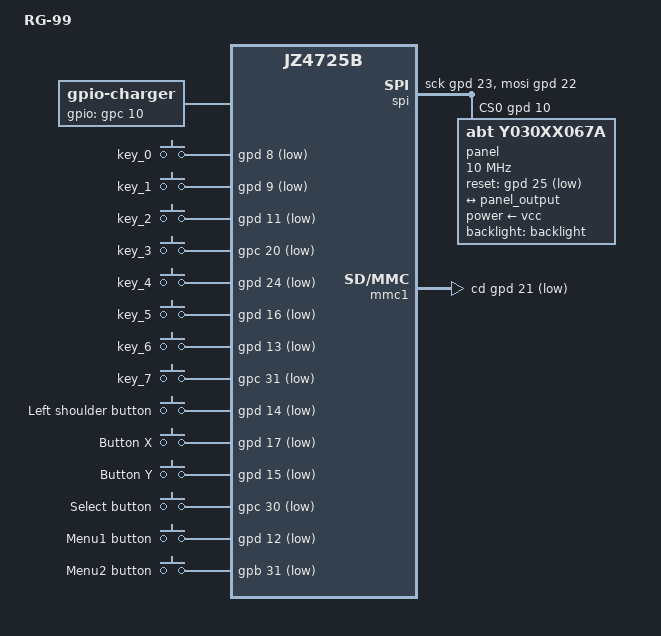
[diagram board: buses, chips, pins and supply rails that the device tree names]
// SPDX-License-Identifier: GPL-2.0
/dts-v1/;

#include "rs90.dts"

/ {
	compatible = "ylm,rg99", "ingenic,jz4725b";
	model = "RG-99";

	charger: charger {
	     compatible = "gpio-charger";
	     charger-type = "usb-sdp";
	     gpios = <&gpc 10 GPIO_ACTIVE_HIGH>;
	};

	spi {
		compatible = "spi-gpio";
		#address-cells = <1>;
		#size-cells = <0>;

		sck-gpios = <&gpd 23 GPIO_ACTIVE_HIGH>;
		mosi-gpios = <&gpd 22 GPIO_ACTIVE_HIGH>;
		cs-gpios = <&gpd 10 GPIO_ACTIVE_HIGH>;
		num-chipselects = <1>;

		panel@0 {
			compatible = "abt,y030xx067a";
			reg = <0>;

			spi-max-frequency = <10000000>;
			spi-3wire;

			reset-gpios = <&gpd 25 GPIO_ACTIVE_LOW>;

			backlight = <&backlight>;
			power-supply = <&vcc>;

			port {
				abt_input: endpoint {
					remote-endpoint = <&panel_output>;
				};
			};
		};
	};
};

&key_0 {
	gpios = <&gpd 8 GPIO_ACTIVE_LOW>;
};

&key_1 {
	gpios = <&gpd 9 GPIO_ACTIVE_LOW>;
};

&key_2 {
	gpios = <&gpd 11 GPIO_ACTIVE_LOW>;
};

&key_3 {
	gpios = <&gpc 20 GPIO_ACTIVE_LOW>;
};

&key_4 {
	gpios = <&gpd 24 GPIO_ACTIVE_LOW>;
};

&key_5 {
	gpios = <&gpd 16 GPIO_ACTIVE_LOW>;
};

&key_6 {
	gpios = <&gpd 13 GPIO_ACTIVE_LOW>;
};

&key_7 {
	gpios = <&gpc 31 GPIO_ACTIVE_LOW>;
};

&gpio_keys {
	key@8 {
		label = "Left shoulder button";
		linux,code = <KEY_TAB>;
		gpios = <&gpd 14 GPIO_ACTIVE_LOW>;
		debounce-interval = <10>;
	};

	key@9 {
		label = "Button X";
		linux,code = <KEY_SPACE>;
		gpios = <&gpd 17 GPIO_ACTIVE_LOW>;
	};

	key@10 {
		label = "Button Y";
		linux,code = <KEY_LEFTSHIFT>;
		gpios = <&gpd 15 GPIO_ACTIVE_LOW>;
	};

	key@11 {
		label = "Select button";
		linux,code = <KEY_ESC>;
		gpios = <&gpc 30 GPIO_ACTIVE_LOW>;
	};

	key@12 {
		label = "Menu1 button";
		linux,code = <KEY_PAGEUP>;
		gpios = <&gpd 12 GPIO_ACTIVE_LOW>;
		debounce-interval = <10>;
	};

	key@13 {
		label = "Menu2 button";
		linux,code = <KEY_PAGEDOWN>;
		gpios = <&gpb 31 GPIO_ACTIVE_LOW>;
		debounce-interval = <10>;
	};
};

&gpio_keys_1 {
	status = "disabled";
};

&sound_card {
	/* TODO: What's the headphones detection GPIO? */
	simple-audio-card,hp-det-gpio;
};

&panel {
	status = "disabled";
};

/* Make RS90 panel port a dummy to avoid DTC complaints */
&panel_input {
	remote-endpoint = <&panel_input>;
};

&panel_output {
	remote-endpoint = <&abt_input>;
};

&pmu {
	power-supplies = <&charger>;
};

&mmc1 {
	cd-gpios = <&gpd 21 GPIO_ACTIVE_LOW>;
};

&pins_lcd {
	groups = "lcd-8bit";
};

&vmem {
	/* Reserve 2 MiB of VRAM */
	reg = <0x1e00000 0x200000>;
};
